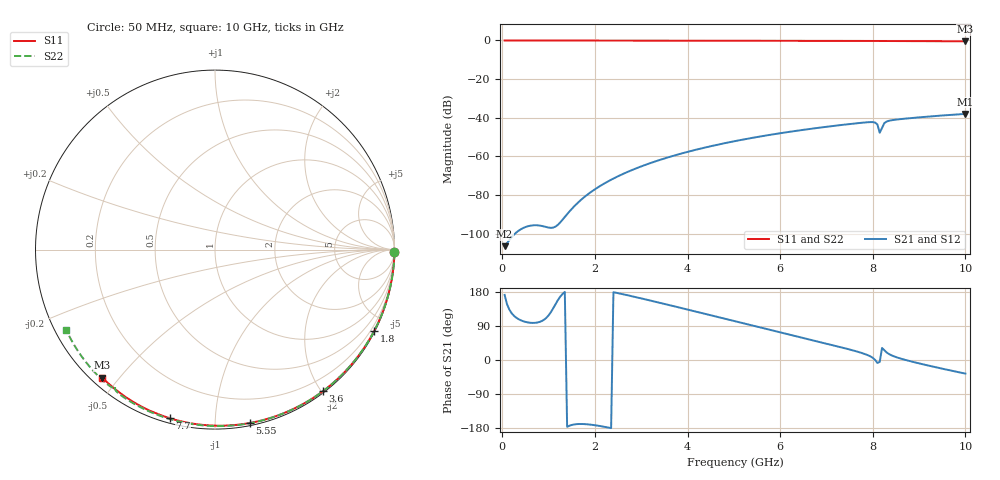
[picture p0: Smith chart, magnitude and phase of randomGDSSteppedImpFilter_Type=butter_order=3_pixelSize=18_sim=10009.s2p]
! freq	dB(S11)	phase(S11)	dB(S12)	phase(S12)
!  dB(S21)	phase(S21)	dB(S22)	phase(S22)
!S-par simulation data
#  GHz  S  DB  R 50
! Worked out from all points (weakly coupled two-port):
!   200 points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, 50 MHz to 10 GHz, reference 50 ohm
!   highest |S21| = -38.01 dB at 10 GHz (marker M1); lowest = -106.5 dB at 50 MHz (marker M2)
!   lowest |S11| = -0.4 dB at 10 GHz (marker M3), VSWR 39.24, Z = 1.53 - j22.6 ohm
!   |S11| at or under -10 dB: nowhere
!   |S22| runs from -0.5 to 0.0 dB; largest |S21 - S12| = 0
!   S11 on the Smith chart (normalised r, x): 50 MHz: open; 1.8 GHz: 0.04, -4.18; 3.6 GHz: 0.02, -2.02; 5.55 GHz: 0.02, -1.22; 7.7 GHz: 0.02, -0.77; 10 GHz: 0.03, -0.45
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0.05  -0.00 -0.8  -106.50 171.7  -106.50 171.7  -0.00 -0.9
0.85  -0.02 -12.8  -96.02 102.6  -96.02 102.6  -0.02 -14.7
1.75  -0.03 -26.2  -81.51 -169.0  -81.51 -169.0  -0.04 -29.9
1.8  -0.03 -26.9  -80.53 -169.3  -80.53 -169.3  -0.04 -30.7
1.85  -0.04 -27.7  -79.60 -169.8  -79.60 -169.8  -0.04 -31.5
2.2  -0.04 -32.8  -74.09 -176.2  -74.09 -176.2  -0.05 -37.3
2.55  -0.05 -37.8  -69.73 175.1  -69.73 175.1  -0.06 -43.1
2.95  -0.06 -43.5  -65.66 164.0  -65.66 164.0  -0.06 -49.6
3.4  -0.07 -49.9  -61.86 150.9  -61.86 150.9  -0.08 -56.7
3.6  -0.07 -52.6  -60.37 145.0  -60.37 145.0  -0.08 -59.9
4.3  -0.09 -62.2  -55.88 124.2  -55.88 124.2  -0.10 -70.7
5.05  -0.11 -72.2  -51.99 101.6  -51.99 101.6  -0.13 -82.0
5.55  -0.13 -78.6  -49.79 86.6  -49.79 86.6  -0.15 -89.3
6.7  -0.18 -93.0  -45.62 52.2  -45.62 52.2  -0.21 -105.7
7.7  -0.24 -105.0  -42.76 20.9  -42.76 20.9  -0.28 -119.7
8.05  -0.27 -109.1  -42.50 0.3  -42.50 0.3  -0.34 -124.9
8.1  -0.27 -109.6  -43.49 -7.8  -43.49 -7.8  -0.39 -125.7
8.15  -0.27 -110.2  -47.78 -4.9  -47.78 -4.9  -0.49 -126.0
8.25  -0.27 -111.4  -42.77 25.7  -42.77 25.7  -0.38 -126.5
8.35  -0.28 -112.6  -41.59 15.7  -41.59 15.7  -0.35 -128.1
8.85  -0.33 -118.3  -40.13 -4.4  -40.13 -4.4  -0.38 -135.2
10  -0.44 -131.3  -38.01 -35.9  -38.01 -35.9  -0.52 -151.6
